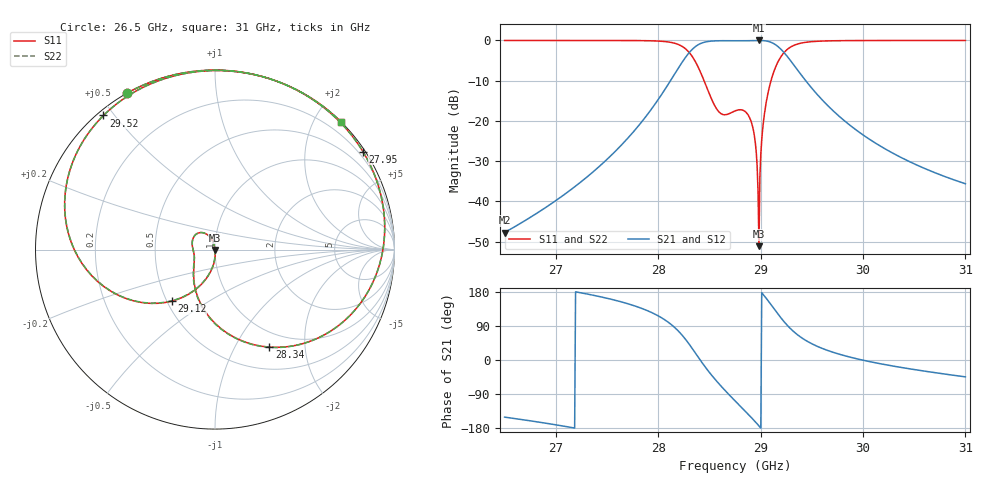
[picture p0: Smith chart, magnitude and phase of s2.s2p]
! Touchstone file from project Ka_PF
! Exported from HFSS 15.0.0
! Variables:
!  AA = 0.34in
!  BB = 0.145in
!  M01 = 0.1649in
!  M11 = 0.2151in
!  M12 = 0.1073in
!  M22 = 0.2385in
!  PL = 0.3in
!  RR = 0.035in
!  TT = 0.04in
!Data is not renormalized
# GHZ S DB
! Modal data exported
! Port[1] = 1:1
! Port[2] = 2:1
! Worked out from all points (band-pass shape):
!   501 points, 26.5 GHz to 31 GHz, reference per port
!   highest |S21| = 0.00 dB at 28.98 GHz (marker M1); lowest = -47.7 dB at 26.5 GHz (marker M2)
!   |S21| within 3 dB of the highest: 28.3 GHz to 29.23 GHz (924.7 MHz wide, 3.21 % of centre)
!   lowest |S11| = -51.1 dB at 28.98 GHz (marker M3), VSWR 1.01
!   |S11| at or under -10 dB: 28.45 GHz to 29.1 GHz (653.5 MHz wide, 2.27 % of centre)
!   |S22| runs from -51.1 to 0.0 dB; largest |S21 - S12| = 1.7e-14
!   S11 on the Smith chart (normalised r, x): 26.5 GHz: 0.00, +0.59; 27.95 GHz: 0.07, +3.32; 28.34 GHz: 0.78, -1.39; 29.12 GHz: 0.53, -0.35; 29.52 GHz: 0.02, +0.47; 31 GHz: 0.00, +2.38
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26.5  -0.00 119.2  -47.72 -150.7  -47.72 -150.7  -0.00 119.3
! Gamma ! -0 419.682061644267 -0 419.682059588134
! Port Impedance 262.306700357186 0 262.306930402304 0
27.256  -0.00 86.7  -34.93 176.8  -34.93 176.8  -0.00 86.8
27.67  -0.01 61.1  -25.20 151.1  -25.20 151.1  -0.01 61.1
27.949  -0.10 33.5  -16.53 123.6  -16.53 123.6  -0.10 33.6
28.003  -0.15 26.0  -14.57 116.0  -14.57 116.0  -0.15 26.1
28.183  -0.87 -9.8  -7.43 80.1  -7.43 80.1  -0.87 -9.9
28.336  -4.13 -60.9  -2.12 29.0  -2.12 29.0  -4.13 -61.1
28.417  -8.11 -92.5  -0.73 -2.7  -0.73 -2.7  -8.11 -92.9
28.489  -12.61 -118.7  -0.25 -29.0  -0.25 -29.0  -12.61 -119.4
28.615  -18.21 -158.7  -0.07 -69.2  -0.07 -69.2  -18.21 -159.8
28.75  -17.51 162.6  -0.08 -107.7  -0.08 -107.7  -17.51 161.9
28.912  -20.50 117.5  -0.04 -152.5  -0.04 -152.5  -20.50 117.4
28.984  -51.11 -77.9  -0.00 -173.9  -0.00 -173.9  -51.11 -89.9
29.038  -18.12 -101.1  -0.07 168.6  -0.07 168.6  -18.12 -101.7
29.119  -8.53 -130.0  -0.66 139.9  -0.66 139.9  -8.53 -130.3
29.191  -4.34 -156.0  -2.00 113.9  -2.00 113.9  -4.34 -156.2
29.29  -1.68 173.3  -4.94 83.3  -4.94 83.3  -1.68 173.2
29.506  -0.28 132.1  -12.04 42.1  -12.04 42.1  -0.28 132.0
29.524  -0.25 129.7  -12.58 39.7  -12.58 39.7  -0.25 129.7
29.803  -0.05 102.6  -19.62 12.6  -19.62 12.6  -0.05 102.6
30.253  -0.01 76.0  -27.47 -14.0  -27.47 -14.0  -0.01 75.9
31  -0.00 45.5  -35.60 -44.5  -35.60 -44.5  -0.00 45.5
